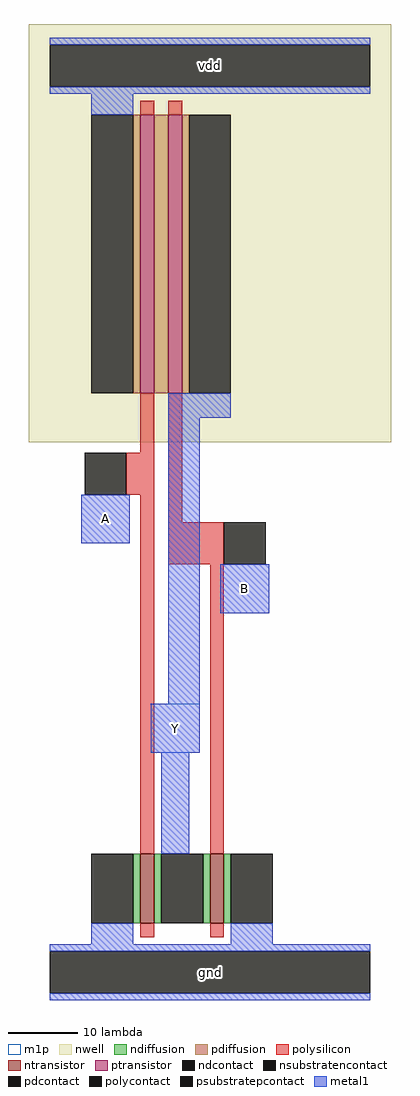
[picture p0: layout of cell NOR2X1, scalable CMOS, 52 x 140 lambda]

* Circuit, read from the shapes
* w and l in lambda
.subckt NOR2X1 A B Y vdd gnd
M1 Y A gnd gnd nfet w=10 l=2
M2 gnd B Y gnd nfet w=10 l=2
M3 n1 A vdd vdd pfet w=40 l=2
M4 Y B n1 vdd pfet w=40 l=2
.ends

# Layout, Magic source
magic
tech scmos
magscale 1 2
<< nwell >>
rect -12 152 92 272
<< ntransistor >>
rect 20 14 24 34
rect 40 14 44 34
<< ptransistor >>
rect 20 166 24 246
rect 28 166 32 246
<< ndiffusion >>
rect 18 14 20 34
rect 24 14 26 34
rect 38 14 40 34
rect 44 14 46 34
<< pdiffusion >>
rect 18 166 20 246
rect 24 166 28 246
rect 32 166 34 246
<< ndcontact >>
rect 6 14 18 34
rect 26 14 38 34
rect 46 14 58 34
<< pdcontact >>
rect 6 166 18 246
rect 34 166 46 246
<< psubstratepcontact >>
rect -6 -6 86 6
<< nsubstratencontact >>
rect -6 254 86 266
<< polysilicon >>
rect 20 246 24 250
rect 28 246 32 250
rect 20 149 24 166
rect 16 137 24 149
rect 20 34 24 137
rect 28 129 32 166
rect 28 117 44 129
rect 40 34 44 117
rect 20 10 24 14
rect 40 10 44 14
<< polycontact >>
rect 4 137 16 149
rect 44 117 56 129
<< metal1 >>
rect -6 266 86 268
rect -6 252 86 254
rect 6 246 18 252
rect 28 159 46 166
rect 3 123 17 137
rect 28 77 37 159
rect 43 103 57 117
rect 23 63 37 77
rect 26 34 34 63
rect 6 8 18 14
rect 46 8 58 14
rect -6 6 86 8
rect -6 -8 86 -6
<< m1p >>
rect 3 123 17 137
rect 43 103 57 117
rect 23 63 37 77
<< labels >>
rlabel metal1 -6 252 86 268 0 vdd
port 3 nsew power bidirectional abutment
rlabel metal1 -6 -8 86 8 0 gnd
port 4 nsew ground bidirectional abutment
rlabel metal1 3 123 17 137 0 A
port 0 nsew signal input
rlabel metal1 23 63 37 77 0 Y
port 2 nsew signal output
rlabel metal1 43 103 57 117 0 B
port 1 nsew signal input
<< properties >>
string FIXED_BBOX 0 0 80 260
string LEFclass CORE
string LEFsite core
string LEFsymmetry X Y
<< end >>
